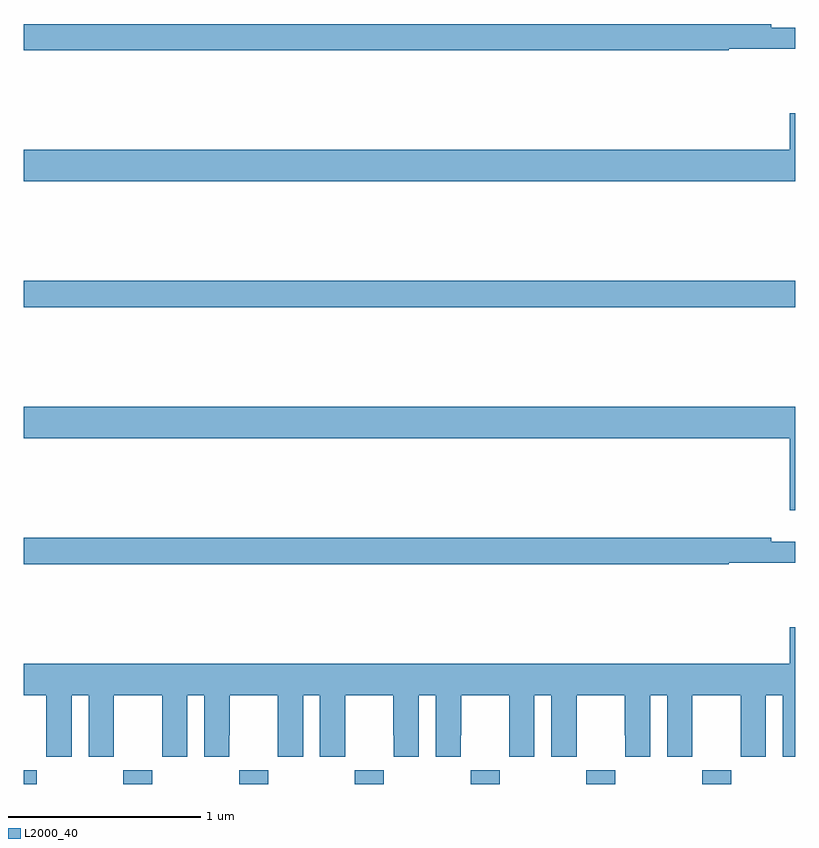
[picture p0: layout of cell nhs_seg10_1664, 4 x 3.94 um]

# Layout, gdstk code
import gdstk
lib = gdstk.Library(unit=1e-6, precision=1e-09)
def R(c, l, rs):  # rectangles x0, y0, x1, y1
    for r in rs: c.add(gdstk.rectangle(r[:2], r[2:], *l))
def A(c, l, x, y, w, h, nx, ny, dx, dy):  # array of equal rectangles
    R(c, l, [(x+i*dx, y+j*dy, x+i*dx+w, y+j*dy+h) for i in range(nx) for j in range(ny)])
def P(c, l, *ps):  # polygons
    for p in ps: c.add(gdstk.Polygon(p, *l))
L2000_40 = (2000, 40)

nhs_seg10_1664 = lib.new_cell('nhs_seg10_1664')
A(nhs_seg10_1664, L2000_40, 197.517, 1322.5, 0.15, 0.072, 6, 1, 0.6, 0)
R(nhs_seg10_1664, L2000_40, [(197,1322.5,197.067,1322.572), (197,1324.972,201,1325.108)])
P(nhs_seg10_1664, L2000_40, [(200.655,1326.312),(201,1326.312),(201,1326.421),(200.876,1326.421),(200.876,1326.44),(197,1326.44),(197,1326.304),(200.655,1326.304)],
  [(201,1325.977),(200.972,1325.977),(200.972,1325.788),(197,1325.788),(197,1325.624),(201,1325.624)],
  [(201,1324.456),(197,1324.456),(197,1324.292),(200.972,1324.292),(200.972,1323.918),(201,1323.918)],
  [(200.655,1323.648),(201,1323.648),(201,1323.757),(200.876,1323.757),(200.876,1323.776),(197,1323.776),(197,1323.64),(200.655,1323.64)],
  [(197.248,1322.96),(197.336,1322.96),(197.336,1322.64),(197.466,1322.64),(197.466,1322.752),(197.467,1322.752),(197.467,1322.96),(197.717,1322.96),(197.717,1322.752),(197.718,1322.752),(197.718,1322.64),(197.848,1322.64),(197.848,1322.96),(197.936,1322.96),(197.936,1322.64),(198.066,1322.64),(198.066,1322.752),(198.067,1322.752),(198.067,1322.96),(198.317,1322.96),(198.317,1322.752),(198.318,1322.752),(198.318,1322.64),(198.448,1322.64),(198.448,1322.96),(198.536,1322.96),(198.536,1322.64),(198.666,1322.64),(198.666,1322.752),(198.667,1322.752),(198.667,1322.96),(198.917,1322.96),(198.917,1322.752),(198.918,1322.752),(198.918,1322.64),(199.048,1322.64),(199.048,1322.96),(199.136,1322.96),(199.136,1322.64),(199.266,1322.64),(199.266,1322.752),(199.267,1322.752),(199.267,1322.96),(199.517,1322.96),(199.517,1322.752),(199.518,1322.752),(199.518,1322.64),(199.648,1322.64),(199.648,1322.96),(199.736,1322.96),(199.736,1322.64),(199.866,1322.64),(199.866,1322.752),(199.867,1322.752),(199.867,1322.96),(200.117,1322.96),(200.117,1322.752),(200.118,1322.752),(200.118,1322.64),(200.248,1322.64),(200.248,1322.96),(200.336,1322.96),(200.336,1322.64),(200.466,1322.64),(200.466,1322.752),(200.467,1322.752),(200.467,1322.96),(200.717,1322.96),(200.717,1322.752),(200.718,1322.752),(200.718,1322.64),(200.848,1322.64),(200.848,1322.96),(200.936,1322.96),(200.936,1322.64),(201,1322.64),(201,1323.313),(200.972,1323.313),(200.972,1323.124),(197,1323.124),(197,1322.96),(197.117,1322.96),(197.117,1322.752),(197.118,1322.752),(197.118,1322.64),(197.248,1322.64)])

lib.write_gds('nhs_seg10_1664.gds')
